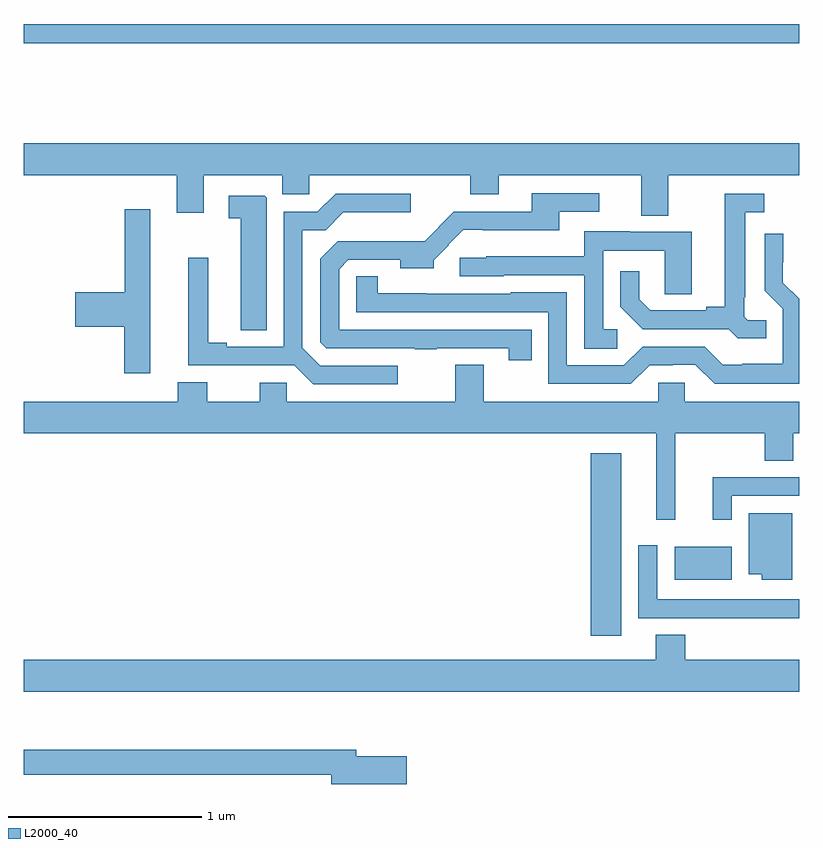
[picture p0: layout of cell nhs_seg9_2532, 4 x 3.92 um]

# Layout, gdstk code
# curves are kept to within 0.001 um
import gdstk
lib = gdstk.Library(unit=1e-6, precision=1e-09)
def R(c, l, rs):  # rectangles x0, y0, x1, y1
    for r in rs: c.add(gdstk.rectangle(r[:2], r[2:], *l))
def P(c, l, *ps):  # polygons
    for p in ps: c.add(gdstk.Polygon(p, *l))
L2000_40 = (2000, 40)

nhs_seg9_2532 = lib.new_cell('nhs_seg9_2532')
R(nhs_seg9_2532, L2000_40, [(257.924,1227.345,258.082,1228.285), (258.359,1227.632,258.652,1227.802), (255,1230.4,259,1230.5)])
P(nhs_seg9_2532, L2000_40, [(258.325,1229.72),(259,1229.72),(259,1229.884),(255,1229.884),(255,1229.72),(255.788,1229.72),(255.788,1229.526),(255.928,1229.526),(255.928,1229.72),(256.334,1229.72),(256.334,1229.622),(256.473,1229.622),(256.473,1229.72),(257.302,1229.72),(257.302,1229.621),(257.449,1229.621),(257.449,1229.72),(258.185,1229.72),(258.185,1229.512),(258.325,1229.512)],
  [(257.621,1228.923),(256.626,1228.923),(256.626,1229.235),(256.674,1229.283),(256.943,1229.283),(256.943,1229.24),(257.114,1229.24),(257.114,1229.28),(257.193,1229.358),(257.19,1229.361),(257.267,1229.438),(257.368,1229.438),(257.368,1229.435),(257.761,1229.435),(257.761,1229.532),(257.968,1229.532),(257.968,1229.628),(257.621,1229.628),(257.621,1229.532),(257.217,1229.532),(257.141,1229.455),(257.143,1229.453),(257.069,1229.38),(256.735,1229.38),(256.735,1229.378),(256.619,1229.378),(256.53,1229.289),(256.53,1228.857),(256.56,1228.827),(257.017,1228.827),(257.017,1228.822),(257.129,1228.822),(257.129,1228.827),(257.503,1228.827),(257.503,1228.764),(257.621,1228.764)],
  [(256.93,1228.737),(256.53,1228.737),(256.437,1228.83),(256.437,1229.437),(256.558,1229.437),(256.649,1229.528),(256.996,1229.528),(256.996,1229.625),(256.608,1229.625),(256.515,1229.532),(256.341,1229.532),(256.341,1228.836),(256.048,1228.836),(256.048,1228.856),(255.952,1228.856),(255.952,1229.293),(255.848,1229.293),(255.848,1228.74),(256.394,1228.74),(256.493,1228.641),(256.93,1228.641)],
  [(258.83,1228.971),(258.735,1228.971),(258.717,1228.989),(258.717,1229.089),(258.721,1229.089),(258.721,1229.529),(258.82,1229.529),(258.82,1229.625),(258.617,1229.625),(258.617,1229.042),(258.521,1229.042),(258.521,1229.022),(258.232,1229.022),(258.175,1229.079),(258.175,1229.224),(258.078,1229.224),(258.078,1229.042),(258.194,1228.926),(258.636,1228.926),(258.684,1228.879),(258.83,1228.879)],
  [(256.252,1229.603),(256.242,1229.613),(256.056,1229.613),(256.056,1229.497),(256.118,1229.497),(256.118,1228.921),(256.252,1228.921)],
  [(255.652,1229.545),(255.521,1229.545),(255.521,1229.117),(255.264,1229.117),(255.264,1228.939),(255.518,1228.939),(255.518,1228.698),(255.652,1228.698)],
  [(258.061,1228.926),(257.988,1228.926),(257.988,1229.331),(258.306,1229.331),(258.306,1229.107),(258.445,1229.107),(258.445,1229.427),(258.127,1229.427),(258.127,1229.431),(257.891,1229.431),(257.891,1229.302),(257.385,1229.302),(257.385,1229.295),(257.25,1229.295),(257.25,1229.199),(257.475,1229.199),(257.475,1229.205),(257.892,1229.205),(257.892,1228.825),(258.061,1228.825)],
  [(259,1229.082),(258.916,1229.166),(258.916,1229.272),(258.918,1229.272),(258.918,1229.419),(258.822,1229.419),(258.822,1229.124),(258.915,1229.031),(258.915,1228.747),(258.706,1228.747),(258.706,1228.743),(258.606,1228.743),(258.513,1228.836),(258.192,1228.836),(258.096,1228.74),(257.802,1228.74),(257.802,1229.116),(257.511,1229.116),(257.511,1229.109),(256.825,1229.11),(256.825,1229.198),(256.716,1229.198),(256.716,1229.013),(257.706,1229.013),(257.706,1228.644),(258.132,1228.644),(258.228,1228.74),(258.348,1228.74),(258.348,1228.743),(258.465,1228.743),(258.565,1228.643),(259,1228.643)],
  [(258.362,1228.388),(258.823,1228.388),(258.823,1228.246),(258.97,1228.246),(258.97,1228.388),(259,1228.388),(259,1228.552),(258.411,1228.552),(258.411,1228.65),(258.273,1228.65),(258.273,1228.552),(257.373,1228.552),(257.373,1228.742),(257.225,1228.742),(257.225,1228.552),(256.356,1228.552),(256.356,1228.65),(256.217,1228.65),(256.217,1228.552),(255.946,1228.552),(255.946,1228.651),(255.794,1228.651),(255.794,1228.552),(255,1228.552),(255,1228.388),(258.263,1228.388),(258.263,1227.942),(258.362,1227.942)],
  [(258.651,1228.065),(259,1228.065),(259,1228.161),(258.554,1228.161),(258.554,1227.942),(258.651,1227.942)],
  [(258.964,1227.976),(258.74,1227.976),(258.74,1227.662),(258.806,1227.662),(258.806,1227.632),(258.964,1227.632)],
  [(259,1227.531),(258.267,1227.531),(258.267,1227.811),(258.171,1227.811),(258.171,1227.435),(258.496,1227.435),(258.496,1227.434),(259,1227.434)],
  [(259,1227.22),(258.413,1227.22),(258.413,1227.35),(258.26,1227.35),(258.26,1227.22),(255,1227.22),(255,1227.056),(259,1227.056)],
  [(256.975,1226.721),(256.714,1226.721),(256.714,1226.755),(255,1226.755),(255,1226.626),(256.586,1226.626),(256.586,1226.579),(256.975,1226.579)])

lib.write_gds('nhs_seg9_2532.gds')
